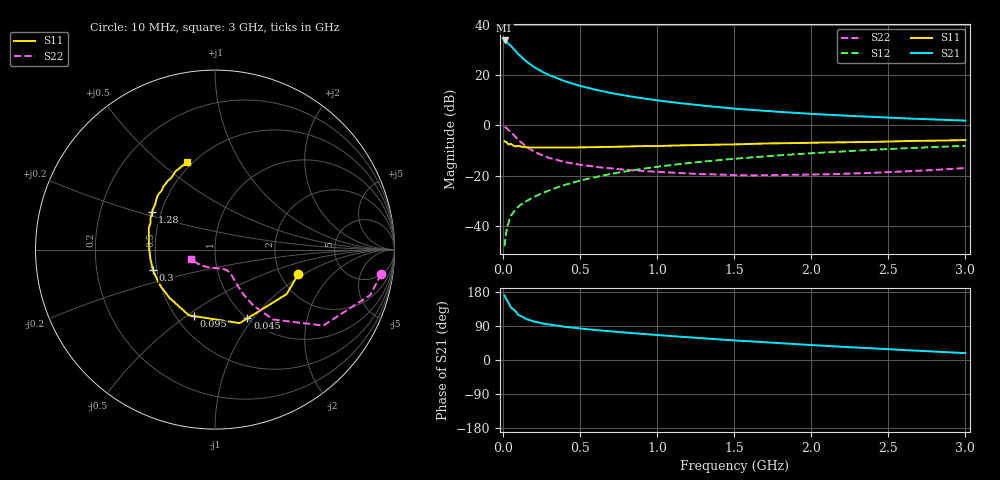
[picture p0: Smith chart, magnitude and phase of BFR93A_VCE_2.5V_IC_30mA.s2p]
! Infineon Technologies  Discrete & RF Semiconductors
! BFR93A
! VCE =  2.5 V,  IC =  30 mA
! Common Emitter S-Parameters:  Nov 2015
# GHz  S  MA  R  50
!  f  S11  S21  S12  S22
! GHz  MAG  ANG  MAG  ANG  MAG  ANG  MAG  ANG
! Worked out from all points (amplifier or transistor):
!   180 points, 10 MHz to 3 GHz, reference 50 ohm
!   highest |S21| = 33.7 dB at 10 MHz (marker M1)
!   |S21| within 3 dB of that: start of sweep to 63.6 MHz
!   unconditionally stable (mu >= 1): 345.5 MHz to end of sweep
!   at 160 MHz: K = 0.81, MSG = 27.4 dB, |S12| = -29.8 dB
!   at 1.22 GHz: K = 1.08, MAG = 9.9 dB, |S12| = -14.9 dB
!   at 3 GHz: K = 1.01, MAG = 4.5 dB, |S12| = -8.1 dB
!   S11 on the Smith chart (normalised r, x): 10 MHz: 2.51, -0.89; 45 MHz: 1.00, -0.94; 95 MHz: 0.61, -0.54; 300 MHz: 0.48, -0.13; 1.28 GHz: 0.45, +0.23; 3 GHz: 0.47, +0.62
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0.01  0.4841 -16.2  48.57 170.1  0.004 83.3  0.9361 -8.4
0.02  0.4702 -31.8  46.72 161.0  0.0075 76.6  0.9015 -16.3
0.045  0.4233 -64.7  39.08 143.4  0.0145 68.5  0.7583 -31.4
0.05  0.4321 -71.5  38.1 139.1  0.0159 67.7  0.7373 -35.0
0.095  0.3887 -107.5  26.78 121.5  0.0237 62.9  0.5278 -48.1
0.1  0.3941 -111.6  25.75 118.7  0.0246 62.6  0.507 -50.2
0.15  0.3697 -133.1  18.62 108.0  0.0312 63.3  0.3774 -55.6
0.2  0.3653 -146.2  14.47 101.5  0.0378 65.3  0.3032 -57.4
0.24  0.3625 -153.6  12.3 97.8  0.0432 66.5  0.2662 -57.8
0.26  0.3628 -156.6  11.4 96.1  0.0459 67.0  0.2507 -57.9
0.3  0.3644 -161.5  9.927 93.3  0.0514 68.2  0.226 -57.7
0.4  0.3635 -171.8  7.526 87.6  0.0656 69.6  0.187 -57.2
0.52  0.3669 179.2  5.883 82.3  0.0827 69.9  0.1624 -57.0
0.6  0.3704 174.8  5.103 79.1  0.0941 69.7  0.15 -57.4
0.7  0.3747 170.0  4.396 75.4  0.1087 69.1  0.1398 -58.7
0.9  0.3882 161.7  3.455 69.1  0.1367 67.4  0.1245 -63.0
1.02  0.3904 157.0  3.082 65.3  0.1535 66.0  0.1188 -66.3
1.28  0.4093 148.8  2.499 57.7  0.1886 62.7  0.1082 -76.3
1.52  0.4206 142.0  2.13 51.2  0.2201 59.8  0.1031 -87.4
2.02  0.4538 129.2  1.682 39.1  0.2823 53.2  0.1055 -111.5
2.52  0.4806 118.4  1.416 28.1  0.3414 46.2  0.1187 -134.8
3  0.5104 108.0  1.245 18.1  0.3939 39.4  0.1429 -157.7
